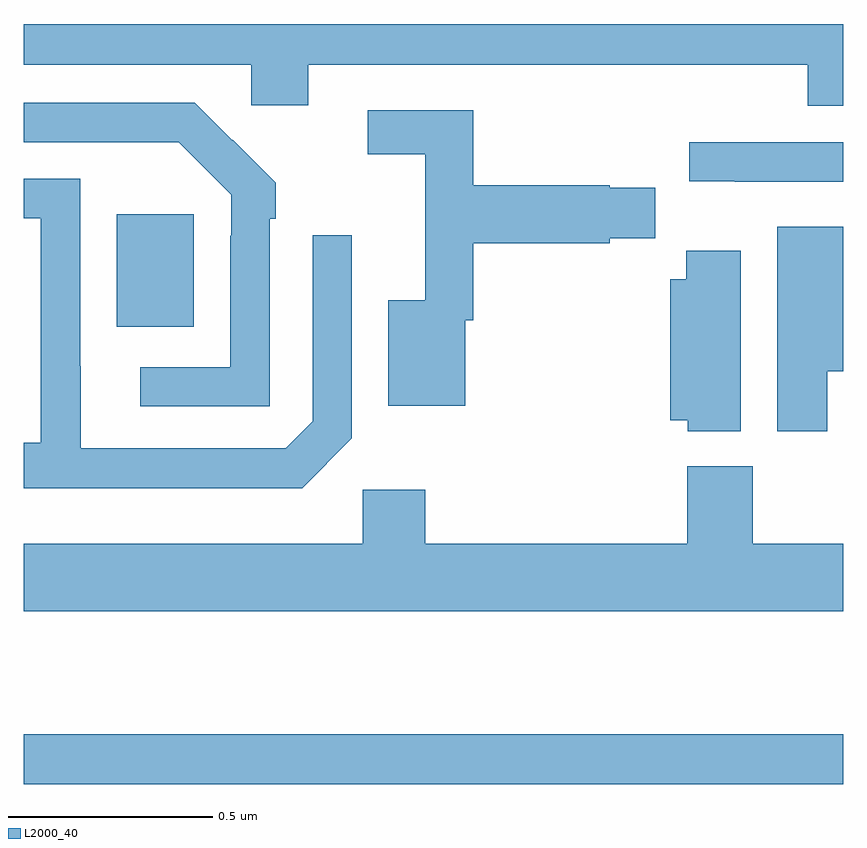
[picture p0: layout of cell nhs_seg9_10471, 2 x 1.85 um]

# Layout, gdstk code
import gdstk
lib = gdstk.Library(unit=1e-6, precision=1e-09)
def R(c, l, rs):  # rectangles x0, y0, x1, y1
    for r in rs: c.add(gdstk.rectangle(r[:2], r[2:], *l))
def P(c, l, *ps):  # polygons
    for p in ps: c.add(gdstk.Polygon(p, *l))
L2000_40 = (2000, 40)

nhs_seg9_10471 = lib.new_cell('nhs_seg9_10471')
R(nhs_seg9_10471, L2000_40, [(243,1214.646,245,1214.767), (243.227,1215.761,243.415,1216.036)])
P(nhs_seg9_10471, L2000_40, [(245,1216.5),(243,1216.5),(243,1216.4),(243.555,1216.4),(243.555,1216.302),(243.694,1216.302),(243.694,1216.4),(244.913,1216.4),(244.913,1216.301),(245,1216.301)],
  [(243.6,1216.025),(243.615,1216.025),(243.615,1216.113),(243.51,1216.218),(243.509,1216.217),(243.418,1216.308),(243,1216.308),(243,1216.212),(243.379,1216.212),(243.507,1216.083),(243.507,1215.983),(243.504,1215.983),(243.504,1215.663),(243.285,1215.663),(243.285,1215.567),(243.6,1215.567)],
  [(244.078,1215.777),(244.097,1215.777),(244.097,1215.965),(244.43,1215.965),(244.43,1215.977),(244.541,1215.977),(244.541,1216.1),(244.43,1216.1),(244.43,1216.107),(244.097,1216.107),(244.097,1216.29),(243.84,1216.29),(243.84,1216.182),(243.98,1216.182),(243.98,1215.826),(243.89,1215.826),(243.89,1215.569),(244.078,1215.569)],
  [(245,1216.212),(244.624,1216.212),(244.624,1216.117),(244.735,1216.117),(244.735,1216.115),(245,1216.115)],
  [(243.801,1215.489),(243.801,1215.985),(243.705,1215.985),(243.705,1215.531),(243.639,1215.465),(243.139,1215.465),(243.139,1215.665),(243.138,1215.665),(243.138,1216.122),(243,1216.122),(243,1216.026),(243.042,1216.026),(243.042,1215.478),(243,1215.478),(243,1215.368),(243.68,1215.368)],
  [(244.96,1215.653),(245,1215.653),(245,1216.006),(244.838,1216.006),(244.838,1215.507),(244.96,1215.507)],
  [(244.75,1215.947),(244.616,1215.947),(244.616,1215.877),(244.577,1215.877),(244.577,1215.533),(244.62,1215.533),(244.62,1215.506),(244.75,1215.506)],
  [(245,1215.232),(244.779,1215.232),(244.779,1215.421),(244.619,1215.421),(244.619,1215.232),(243.98,1215.232),(243.98,1215.364),(243.828,1215.364),(243.828,1215.232),(243,1215.232),(243,1215.068),(245,1215.068)])

lib.write_gds('nhs_seg9_10471.gds')
